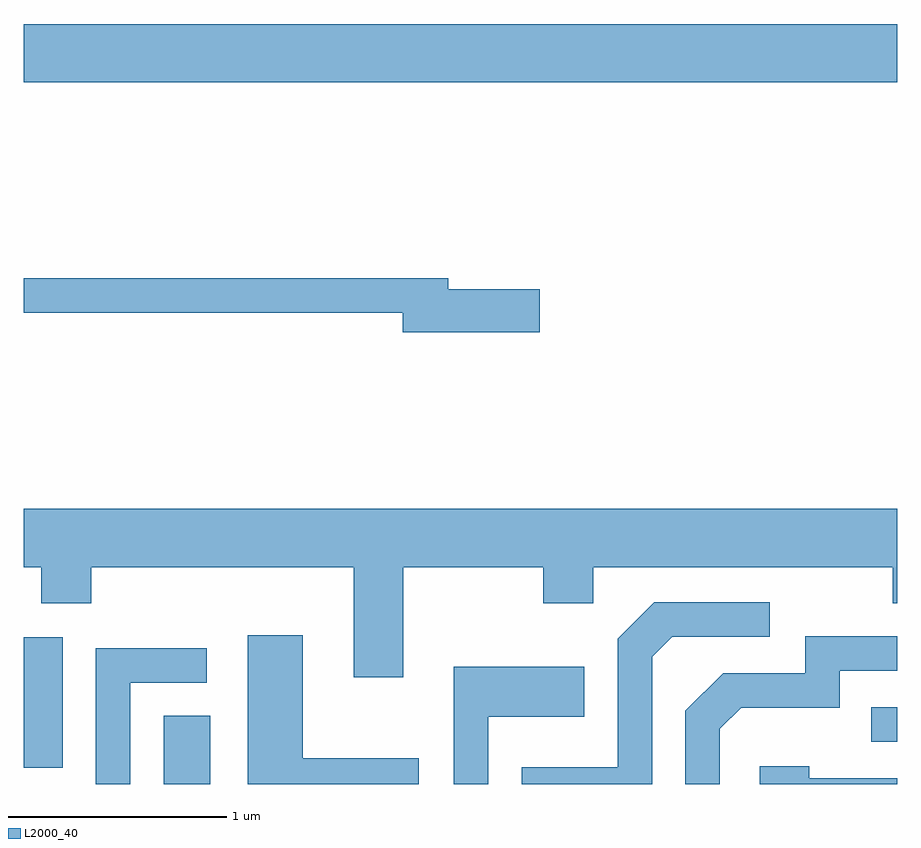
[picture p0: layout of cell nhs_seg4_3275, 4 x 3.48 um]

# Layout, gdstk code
import gdstk
lib = gdstk.Library(unit=1e-6, precision=1e-09)
def R(c, l, rs):  # rectangles x0, y0, x1, y1
    for r in rs: c.add(gdstk.rectangle(r[:2], r[2:], *l))
def P(c, l, *ps):  # polygons
    for p in ps: c.add(gdstk.Polygon(p, *l))
L2000_40 = (2000, 40)

nhs_seg4_3275 = lib.new_cell('nhs_seg4_3275')
R(nhs_seg4_3275, L2000_40, [(282.251,1275.982,282.464,1276.294), (281.611,1276.056,281.789,1276.654), (285.493,1276.176,285.611,1276.334), (281.611,1279.196,285.611,1279.464)])
P(nhs_seg4_3275, L2000_40, [(283.974,1278.249),(283.554,1278.249),(283.554,1278.299),(281.611,1278.299),(281.611,1278.141),(283.346,1278.141),(283.346,1278.051),(283.974,1278.051)],
  [(283.349,1276.976),(283.991,1276.976),(283.991,1276.811),(284.219,1276.811),(284.219,1276.976),(285.591,1276.976),(285.591,1276.811),(285.611,1276.811),(285.611,1277.244),(281.611,1277.244),(281.611,1276.976),(281.691,1276.976),(281.691,1276.811),(281.919,1276.811),(281.919,1276.976),(283.121,1276.976),(283.121,1276.471),(283.349,1276.471)],
  [(284.489,1276.564),(284.582,1276.656),(285.028,1276.656),(285.028,1276.814),(284.499,1276.814),(284.331,1276.647),(284.331,1276.059),(283.891,1276.059),(283.891,1275.982),(284.489,1275.982)],
  [(283.419,1276.099),(282.889,1276.099),(282.889,1276.664),(282.636,1276.664),(282.636,1275.982),(283.419,1275.982)],
  [(284.799,1276.234),(284.897,1276.331),(285.349,1276.331),(285.349,1276.501),(285.611,1276.501),(285.611,1276.659),(285.191,1276.659),(285.191,1276.489),(284.814,1276.489),(284.641,1276.317),(284.641,1275.982),(284.799,1275.982)],
  [(282.099,1276.446),(282.448,1276.446),(282.448,1276.604),(281.941,1276.604),(281.941,1275.982),(282.099,1275.982)],
  [(283.739,1276.291),(284.179,1276.291),(284.179,1276.519),(283.581,1276.519),(283.581,1275.982),(283.739,1275.982)],
  [(285.611,1276.009),(285.209,1276.009),(285.209,1276.064),(284.981,1276.064),(284.981,1275.982),(285.611,1275.982)])

lib.write_gds('nhs_seg4_3275.gds')
